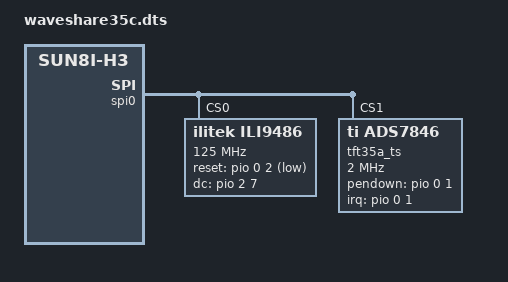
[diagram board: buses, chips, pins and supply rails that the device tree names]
/dts-v1/;
/plugin/;

/ {
	compatible = "allwinner,sun8i-h3";

	fragment@0 {
		target = <&spi0>;
		__overlay__ {
			status = "okay";
			spidev@0{
				status = "disabled";
			};
			spidev@1{
				status = "disabled";
			};
		};
	};

	fragment@1 {
		target = <&pio>;
		__overlay__ {
			ili9486_pins: ili9486_pins {
				allwinner,pins= "PA2", "PC7";
				allwinner,function = "gpio_in";
			};
			ads7846_pins: ads7846_pins {
				pins= "PA1";
				function = "irq";
			};
		};
	};

	fragment@2 {
		target = <&spi0>;
		__overlay__ {
			#address-cells = <1>;
			#size-cells = <0>;
			ili9486: ili9486@0 {
				compatible = "ilitek,ili9486";
				reg = <0>;
				pinctrl-names = "default";
				pinctrl-0 = <&ili9486_pins>;
				spi-max-frequency = <125000000>;
				txbuflen = <32768>;
				rotate = <270>;
				bgr = <0>;
				fps = <30>;
				buswidth = <8>;
				regwidth = <16>;
				reset-gpios = <&pio 0 2 1>;
				dc-gpios = <&pio 2 7 0>;
				debug = <0>;
				init = <0x10000f1 0x36 0x04 0x00 0x3c 0x0f 0x8f 0x10000f2 0x18 0xa3 0x12 0x02 0xb2 0x12 0xff 0x10 0x00 0x10000f8 0x21 0x04 					0x10000f9 0x00 0x08 0x1000036 0x08 0x10000b4 0x00 0x10000c1 0x41 0x10000c5 0x00 0x91 0x80 0x00 0x10000e0 0x0f 0x1f 0x1c 0x0c 					0x0f 0x08 0x48 0x98 0x37 0x0a 0x13 0x04 0x11 0x0d 0x00 0x10000e1 0x0f 0x32 0x2e 0x0b 0x0d 0x05 0x47 0x75 0x37 0x06 0x10 0x03 					0x24 0x20 0x00 0x100003a 0x55 0x1000011 0x1000036 0x28 0x20000ff 0x1000029>;
			};
			tft35a_ts: tft35a-ts@1 {
				compatible = "ti,ads7846";
				reg = <1>;
				status = "okay";
				pinctrl-names = "default";
				pinctrl-0 = <&ads7846_pins>;
				spi-max-frequency = <2000000>;
				interrupts = <0 1 2>;
				interrupt-parent = <&pio>;
				pendown-gpio = <&pio 0 1 0>;
				ti,x-min = /bits/ 16 <0>;
				ti,y-min = /bits/ 16 <0>;
				ti,x-max = /bits/ 16 <0x0FFF>;
				ti,y-max = /bits/ 16 <0x0FFF>;
				ti,pressure-min = /bits/ 16 <0>;
				ti,pressure-max = /bits/ 16 <0x0FFF>;
				ti,x-plate-ohms = /bits/ 16 <400>;
			};
		};
	};
	
	__overrides__ {
		speed = <&ili9486>,"spi-max-frquency:0";
		txbuflen = <&ili9486>,"txbuflen:0";
		rotate = <&ili9486>,"rotate:0";
		fps = <&ili9486>,"fps:0";
		bgr = <&ili9486>,"bgr:0";
		debug = <&ili9486>,"debug:0";
		swapxy = <&tft35a_ts>,"ti,swap-xy?";
	};
};
